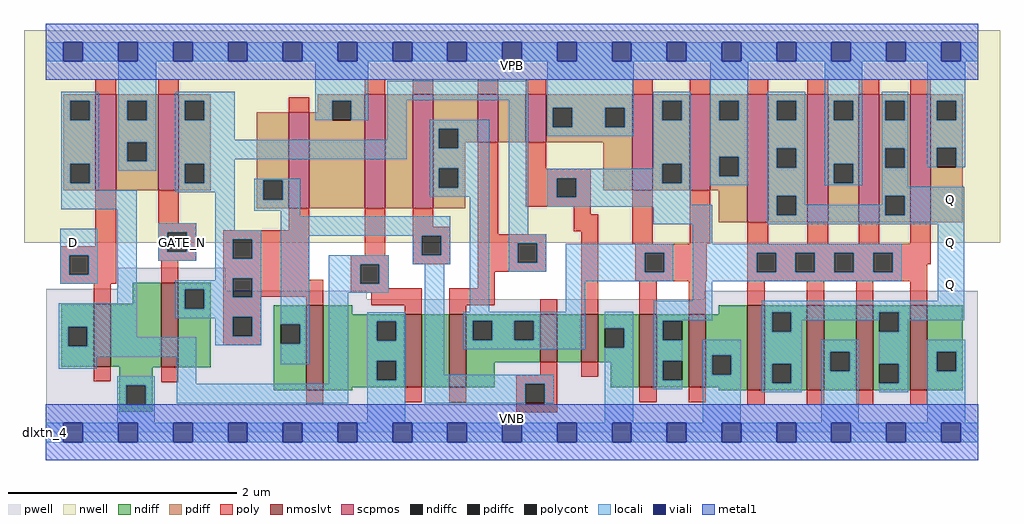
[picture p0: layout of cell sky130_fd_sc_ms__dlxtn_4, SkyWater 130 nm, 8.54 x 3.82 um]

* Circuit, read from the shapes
.subckt sky130_fd_sc_ms__dlxtn_4 D GATE_N VGND VNB VPB VPWR Q
XM1 VGND D n1 VNB sky130_fd_pr__nfet_01v8_lvt w=0.55 l=0.15
XM2 n2 GATE_N VGND VNB sky130_fd_pr__nfet_01v8_lvt w=0.74 l=0.15
XM3 VGND n2 n3 VNB sky130_fd_pr__nfet_01v8_lvt w=0.74 l=0.15
XM4 n4 n1 VGND VNB sky130_fd_pr__nfet_01v8_lvt w=0.64 l=0.15
XM5 n5 n2 n4 VNB sky130_fd_pr__nfet_01v8_lvt w=0.64 l=0.15
XM6 n6 n3 n5 VNB sky130_fd_pr__nfet_01v8_lvt w=0.42 l=0.15
XM7 VGND n7 n6 VNB sky130_fd_pr__nfet_01v8_lvt w=0.42 l=0.15
XM8 n7 n5 VGND VNB sky130_fd_pr__nfet_01v8_lvt w=0.64 l=0.15 m=2
XM9 Q n7 VGND VNB sky130_fd_pr__nfet_01v8_lvt w=0.74 l=0.15 m=4
XM10 VPWR D n1 VPB sky130_fd_pr__pfet_01v8 w=0.84 l=0.18
XM11 n2 GATE_N VPWR VPB sky130_fd_pr__pfet_01v8 w=0.84 l=0.18
XM12 VPWR n2 n3 VPB sky130_fd_pr__pfet_01v8 w=0.84 l=0.18
XM13 n8 n1 VPWR VPB sky130_fd_pr__pfet_01v8 w=1 l=0.18
XM14 n5 n3 n8 VPB sky130_fd_pr__pfet_01v8 w=1 l=0.18
XM15 n9 n2 n5 VPB sky130_fd_pr__pfet_01v8 w=0.42 l=0.18
XM16 VPWR n7 n9 VPB sky130_fd_pr__pfet_01v8 w=0.42 l=0.18
XM17 n7 n5 VPWR VPB sky130_fd_pr__pfet_01v8 w=0.84 l=0.18 m=2
XM18 Q n7 VPWR VPB sky130_fd_pr__pfet_01v8 w=1.12 l=0.18 m=4
.ends

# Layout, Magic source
magic
tech sky130A
magscale 1 2
<< nwell >>
rect -38 332 1670 704
<< pwell >>
rect 126 251 315 288
rect 1 248 315 251
rect 1 233 562 248
rect 1152 233 1631 248
rect 1 49 1631 233
rect 0 0 1632 49
<< scpmos >>
rect 87 424 123 592
rect 197 424 233 592
rect 425 392 461 560
rect 558 392 594 592
rect 642 392 678 592
rect 756 508 792 592
rect 840 508 876 592
rect 1026 424 1062 592
rect 1127 424 1163 592
rect 1228 368 1264 592
rect 1333 368 1369 592
rect 1423 368 1459 592
rect 1513 368 1549 592
<< nmoslvt >>
rect 84 115 114 225
rect 202 114 232 262
rect 456 74 486 222
rect 628 79 658 207
rect 706 79 736 207
rect 865 123 895 207
rect 937 123 967 207
rect 1039 79 1069 207
rect 1125 79 1155 207
rect 1228 74 1258 222
rect 1332 74 1362 222
rect 1418 74 1448 222
rect 1513 74 1543 222
<< ndiff >>
rect 152 225 202 262
rect 27 185 84 225
rect 27 151 39 185
rect 73 151 84 185
rect 27 115 84 151
rect 114 115 202 225
rect 129 114 202 115
rect 232 250 289 262
rect 232 216 243 250
rect 277 216 289 250
rect 232 114 289 216
rect 399 189 456 222
rect 399 155 411 189
rect 445 155 456 189
rect 129 82 187 114
rect 129 48 141 82
rect 175 48 187 82
rect 399 74 456 155
rect 486 207 536 222
rect 1178 207 1228 222
rect 486 194 628 207
rect 486 160 579 194
rect 613 160 628 194
rect 486 125 628 160
rect 486 91 579 125
rect 613 91 628 125
rect 486 79 628 91
rect 658 79 706 207
rect 736 195 865 207
rect 736 161 747 195
rect 781 161 820 195
rect 854 161 865 195
rect 736 123 865 161
rect 895 123 937 207
rect 967 182 1039 207
rect 967 148 978 182
rect 1012 148 1039 182
rect 967 123 1039 148
rect 736 79 786 123
rect 486 74 536 79
rect 989 79 1039 123
rect 1069 195 1125 207
rect 1069 161 1080 195
rect 1114 161 1125 195
rect 1069 125 1125 161
rect 1069 91 1080 125
rect 1114 91 1125 125
rect 1069 79 1125 91
rect 1155 135 1228 207
rect 1155 101 1166 135
rect 1200 101 1228 135
rect 1155 79 1228 101
rect 1178 74 1228 79
rect 1258 210 1332 222
rect 1258 176 1271 210
rect 1305 176 1332 210
rect 1258 120 1332 176
rect 1258 86 1271 120
rect 1305 86 1332 120
rect 1258 74 1332 86
rect 1362 141 1418 222
rect 1362 107 1373 141
rect 1407 107 1418 141
rect 1362 74 1418 107
rect 1448 210 1513 222
rect 1448 176 1459 210
rect 1493 176 1513 210
rect 1448 120 1513 176
rect 1448 86 1459 120
rect 1493 86 1513 120
rect 1448 74 1513 86
rect 1543 141 1605 222
rect 1543 107 1559 141
rect 1593 107 1605 141
rect 1543 74 1605 107
rect 129 36 187 48
<< pdiff >>
rect 31 580 87 592
rect 31 546 43 580
rect 77 546 87 580
rect 31 470 87 546
rect 31 436 43 470
rect 77 436 87 470
rect 31 424 87 436
rect 123 580 197 592
rect 123 546 143 580
rect 177 546 197 580
rect 123 508 197 546
rect 123 474 143 508
rect 177 474 197 508
rect 123 424 197 474
rect 233 580 289 592
rect 233 546 243 580
rect 277 546 289 580
rect 476 580 558 592
rect 476 560 501 580
rect 233 470 289 546
rect 233 436 243 470
rect 277 436 289 470
rect 233 424 289 436
rect 369 441 425 560
rect 369 407 381 441
rect 415 407 425 441
rect 369 392 425 407
rect 461 546 501 560
rect 535 546 558 580
rect 461 392 558 546
rect 594 392 642 592
rect 678 531 756 592
rect 678 497 688 531
rect 722 508 756 531
rect 792 508 840 592
rect 876 568 1026 592
rect 876 534 887 568
rect 921 534 979 568
rect 1013 534 1026 568
rect 876 508 1026 534
rect 722 497 734 508
rect 678 462 734 497
rect 678 428 688 462
rect 722 428 734 462
rect 678 392 734 428
rect 976 424 1026 508
rect 1062 580 1127 592
rect 1062 546 1079 580
rect 1113 546 1127 580
rect 1062 470 1127 546
rect 1062 436 1079 470
rect 1113 436 1127 470
rect 1062 424 1127 436
rect 1163 580 1228 592
rect 1163 546 1179 580
rect 1213 546 1228 580
rect 1163 482 1228 546
rect 1163 448 1179 482
rect 1213 448 1228 482
rect 1163 424 1228 448
rect 1178 368 1228 424
rect 1264 580 1333 592
rect 1264 546 1279 580
rect 1313 546 1333 580
rect 1264 497 1333 546
rect 1264 463 1279 497
rect 1313 463 1333 497
rect 1264 414 1333 463
rect 1264 380 1279 414
rect 1313 380 1333 414
rect 1264 368 1333 380
rect 1369 580 1423 592
rect 1369 546 1379 580
rect 1413 546 1423 580
rect 1369 470 1423 546
rect 1369 436 1379 470
rect 1413 436 1423 470
rect 1369 368 1423 436
rect 1459 580 1513 592
rect 1459 546 1469 580
rect 1503 546 1513 580
rect 1459 497 1513 546
rect 1459 463 1469 497
rect 1503 463 1513 497
rect 1459 414 1513 463
rect 1459 380 1469 414
rect 1503 380 1513 414
rect 1459 368 1513 380
rect 1549 580 1605 592
rect 1549 546 1559 580
rect 1593 546 1605 580
rect 1549 498 1605 546
rect 1549 464 1559 498
rect 1593 464 1605 498
rect 1549 368 1605 464
<< ndiffc >>
rect 39 151 73 185
rect 243 216 277 250
rect 411 155 445 189
rect 141 48 175 82
rect 579 160 613 194
rect 579 91 613 125
rect 747 161 781 195
rect 820 161 854 195
rect 978 148 1012 182
rect 1080 161 1114 195
rect 1080 91 1114 125
rect 1166 101 1200 135
rect 1271 176 1305 210
rect 1271 86 1305 120
rect 1373 107 1407 141
rect 1459 176 1493 210
rect 1459 86 1493 120
rect 1559 107 1593 141
<< pdiffc >>
rect 43 546 77 580
rect 43 436 77 470
rect 143 546 177 580
rect 143 474 177 508
rect 243 546 277 580
rect 243 436 277 470
rect 381 407 415 441
rect 501 546 535 580
rect 688 497 722 531
rect 887 534 921 568
rect 979 534 1013 568
rect 688 428 722 462
rect 1079 546 1113 580
rect 1079 436 1113 470
rect 1179 546 1213 580
rect 1179 448 1213 482
rect 1279 546 1313 580
rect 1279 463 1313 497
rect 1279 380 1313 414
rect 1379 546 1413 580
rect 1379 436 1413 470
rect 1469 546 1503 580
rect 1469 463 1503 497
rect 1469 380 1503 414
rect 1559 546 1593 580
rect 1559 464 1593 498
<< poly >>
rect 87 592 123 618
rect 197 592 233 618
rect 558 592 594 618
rect 642 592 678 618
rect 756 592 792 618
rect 840 592 876 618
rect 1026 592 1062 618
rect 1127 592 1163 618
rect 1228 592 1264 618
rect 1333 592 1369 618
rect 1423 592 1459 618
rect 1513 592 1549 618
rect 425 560 461 586
rect 87 326 123 424
rect 25 310 123 326
rect 25 276 41 310
rect 75 276 123 310
rect 197 366 233 424
rect 197 350 263 366
rect 425 354 461 392
rect 197 316 213 350
rect 247 316 263 350
rect 197 300 263 316
rect 311 338 461 354
rect 311 304 327 338
rect 361 304 461 338
rect 558 310 594 392
rect 642 360 678 392
rect 642 344 708 360
rect 642 310 658 344
rect 692 310 708 344
rect 25 260 123 276
rect 202 262 232 300
rect 311 270 461 304
rect 84 225 114 260
rect 84 89 114 115
rect 311 236 327 270
rect 361 267 461 270
rect 534 294 600 310
rect 642 294 708 310
rect 756 347 792 508
rect 840 461 876 508
rect 840 445 954 461
rect 840 411 894 445
rect 928 411 954 445
rect 840 395 954 411
rect 924 382 954 395
rect 924 352 967 382
rect 756 331 876 347
rect 756 297 826 331
rect 860 297 876 331
rect 361 237 486 267
rect 534 260 550 294
rect 584 260 600 294
rect 534 252 600 260
rect 756 281 876 297
rect 756 252 786 281
rect 534 244 658 252
rect 361 236 377 237
rect 311 202 377 236
rect 456 222 486 237
rect 570 222 658 244
rect 311 168 327 202
rect 361 168 377 202
rect 311 152 377 168
rect 202 88 232 114
rect 628 207 658 222
rect 706 222 786 252
rect 706 207 736 222
rect 865 207 895 233
rect 937 207 967 352
rect 1026 330 1062 424
rect 1127 330 1163 424
rect 1228 330 1264 368
rect 1333 330 1369 368
rect 1423 330 1459 368
rect 1513 330 1549 368
rect 1032 314 1157 330
rect 1032 280 1048 314
rect 1082 280 1157 314
rect 1032 264 1157 280
rect 1228 314 1549 330
rect 1228 280 1244 314
rect 1278 280 1312 314
rect 1346 280 1380 314
rect 1414 280 1448 314
rect 1482 294 1549 314
rect 1482 280 1543 294
rect 1228 264 1543 280
rect 1039 207 1069 264
rect 1125 207 1155 264
rect 1228 222 1258 264
rect 1332 222 1362 264
rect 1418 222 1448 264
rect 1513 222 1543 264
rect 865 101 895 123
rect 823 85 895 101
rect 937 97 967 123
rect 456 48 486 74
rect 628 53 658 79
rect 706 53 736 79
rect 823 51 839 85
rect 873 51 895 85
rect 1039 53 1069 79
rect 1125 53 1155 79
rect 823 35 895 51
rect 1228 48 1258 74
rect 1332 48 1362 74
rect 1418 48 1448 74
rect 1513 48 1543 74
<< polycont >>
rect 41 276 75 310
rect 213 316 247 350
rect 327 304 361 338
rect 658 310 692 344
rect 327 236 361 270
rect 894 411 928 445
rect 826 297 860 331
rect 550 260 584 294
rect 327 168 361 202
rect 1048 280 1082 314
rect 1244 280 1278 314
rect 1312 280 1346 314
rect 1380 280 1414 314
rect 1448 280 1482 314
rect 839 51 873 85
<< locali >>
rect 0 649 31 683
rect 65 649 127 683
rect 161 649 223 683
rect 257 649 319 683
rect 353 649 415 683
rect 449 649 511 683
rect 545 649 607 683
rect 641 649 703 683
rect 737 649 799 683
rect 833 649 895 683
rect 929 649 991 683
rect 1025 649 1087 683
rect 1121 649 1183 683
rect 1217 649 1279 683
rect 1313 649 1375 683
rect 1409 649 1471 683
rect 1505 649 1567 683
rect 1601 649 1632 683
rect 27 580 93 596
rect 27 546 43 580
rect 77 546 93 580
rect 27 470 93 546
rect 27 436 43 470
rect 77 436 93 470
rect 127 580 193 649
rect 127 546 143 580
rect 177 546 193 580
rect 127 508 193 546
rect 127 474 143 508
rect 177 474 193 508
rect 127 458 193 474
rect 227 580 331 596
rect 227 546 243 580
rect 277 546 331 580
rect 472 580 564 649
rect 472 546 501 580
rect 535 546 564 580
rect 598 581 844 615
rect 227 512 331 546
rect 598 512 632 581
rect 227 478 632 512
rect 672 531 776 547
rect 672 497 688 531
rect 722 497 776 531
rect 227 470 331 478
rect 27 424 93 436
rect 227 436 243 470
rect 277 436 331 470
rect 672 462 776 497
rect 27 390 159 424
rect 227 420 331 436
rect 25 310 91 356
rect 25 276 41 310
rect 75 276 91 310
rect 25 260 91 276
rect 125 226 159 390
rect 197 350 263 366
rect 197 316 213 350
rect 247 316 263 350
rect 197 300 263 316
rect 297 354 331 420
rect 365 441 445 444
rect 365 407 381 441
rect 415 407 445 441
rect 672 428 688 462
rect 722 428 776 462
rect 672 412 776 428
rect 365 388 445 407
rect 411 378 445 388
rect 297 338 377 354
rect 297 304 327 338
rect 361 304 377 338
rect 297 270 377 304
rect 297 266 327 270
rect 23 185 159 226
rect 227 250 327 266
rect 227 216 243 250
rect 277 236 327 250
rect 361 236 377 270
rect 277 216 377 236
rect 227 202 377 216
rect 227 200 327 202
rect 23 151 39 185
rect 73 166 159 185
rect 297 168 327 200
rect 361 168 377 202
rect 73 151 263 166
rect 297 152 377 168
rect 411 344 708 378
rect 411 189 461 344
rect 642 310 658 344
rect 692 310 708 344
rect 445 155 461 189
rect 23 132 263 151
rect 23 111 89 132
rect 125 82 191 98
rect 125 48 141 82
rect 175 48 191 82
rect 229 85 263 132
rect 411 119 461 155
rect 495 294 600 310
rect 642 294 708 310
rect 495 260 550 294
rect 584 260 600 294
rect 495 244 600 260
rect 495 85 529 244
rect 229 51 529 85
rect 563 194 629 210
rect 563 160 579 194
rect 613 160 629 194
rect 563 125 629 160
rect 563 91 579 125
rect 613 91 629 125
rect 125 17 191 48
rect 563 17 629 91
rect 663 101 697 294
rect 742 211 776 412
rect 810 347 844 581
rect 878 568 1029 649
rect 878 534 887 568
rect 921 534 979 568
rect 1013 534 1029 568
rect 878 518 1029 534
rect 1063 580 1129 596
rect 1063 546 1079 580
rect 1113 546 1129 580
rect 1063 470 1129 546
rect 1063 461 1079 470
rect 878 445 1079 461
rect 878 411 894 445
rect 928 436 1079 445
rect 1113 436 1129 470
rect 928 411 1129 436
rect 1163 580 1229 649
rect 1163 546 1179 580
rect 1213 546 1229 580
rect 1163 482 1229 546
rect 1163 448 1179 482
rect 1213 448 1229 482
rect 1163 432 1229 448
rect 1263 580 1329 596
rect 1263 546 1279 580
rect 1313 546 1329 580
rect 1263 497 1329 546
rect 1263 463 1279 497
rect 1313 463 1329 497
rect 878 398 1129 411
rect 1263 414 1329 463
rect 1363 580 1429 649
rect 1363 546 1379 580
rect 1413 546 1429 580
rect 1363 470 1429 546
rect 1363 436 1379 470
rect 1413 436 1429 470
rect 1363 432 1429 436
rect 1463 580 1509 596
rect 1463 546 1469 580
rect 1503 546 1509 580
rect 1463 497 1509 546
rect 1463 463 1469 497
rect 1503 463 1509 497
rect 1543 580 1609 649
rect 1543 546 1559 580
rect 1593 546 1609 580
rect 1543 498 1609 546
rect 1543 464 1559 498
rect 1593 464 1609 498
rect 878 395 1166 398
rect 1063 364 1166 395
rect 1263 380 1279 414
rect 1313 398 1329 414
rect 1463 430 1509 463
rect 1463 414 1607 430
rect 1463 398 1469 414
rect 1313 380 1469 398
rect 1503 380 1607 414
rect 1263 364 1607 380
rect 810 331 876 347
rect 810 297 826 331
rect 860 297 876 331
rect 1132 330 1166 364
rect 810 281 876 297
rect 910 314 1098 330
rect 910 280 1048 314
rect 1082 280 1098 314
rect 910 264 1098 280
rect 1132 314 1498 330
rect 1132 280 1244 314
rect 1278 280 1312 314
rect 1346 280 1380 314
rect 1414 280 1448 314
rect 1482 280 1498 314
rect 1132 264 1498 280
rect 910 211 944 264
rect 1132 230 1166 264
rect 1561 230 1607 364
rect 731 195 944 211
rect 731 161 747 195
rect 781 161 820 195
rect 854 161 944 195
rect 731 145 944 161
rect 978 182 1028 211
rect 1012 148 1028 182
rect 663 85 889 101
rect 663 51 839 85
rect 873 51 889 85
rect 978 17 1028 148
rect 1064 196 1166 230
rect 1253 210 1607 230
rect 1064 195 1114 196
rect 1064 161 1080 195
rect 1253 176 1271 210
rect 1305 196 1459 210
rect 1305 176 1323 196
rect 1064 125 1114 161
rect 1064 91 1080 125
rect 1064 75 1114 91
rect 1150 135 1216 162
rect 1150 101 1166 135
rect 1200 101 1216 135
rect 1150 17 1216 101
rect 1253 120 1323 176
rect 1493 196 1607 210
rect 1493 176 1509 196
rect 1253 86 1271 120
rect 1305 86 1323 120
rect 1253 70 1323 86
rect 1357 141 1423 162
rect 1357 107 1373 141
rect 1407 107 1423 141
rect 1357 17 1423 107
rect 1459 120 1509 176
rect 1493 86 1509 120
rect 1459 70 1509 86
rect 1543 141 1609 162
rect 1543 107 1559 141
rect 1593 107 1609 141
rect 1543 17 1609 107
rect 0 -17 31 17
rect 65 -17 127 17
rect 161 -17 223 17
rect 257 -17 319 17
rect 353 -17 415 17
rect 449 -17 511 17
rect 545 -17 607 17
rect 641 -17 703 17
rect 737 -17 799 17
rect 833 -17 895 17
rect 929 -17 991 17
rect 1025 -17 1087 17
rect 1121 -17 1183 17
rect 1217 -17 1279 17
rect 1313 -17 1375 17
rect 1409 -17 1471 17
rect 1505 -17 1567 17
rect 1601 -17 1632 17
<< viali >>
rect 31 649 65 683
rect 127 649 161 683
rect 223 649 257 683
rect 319 649 353 683
rect 415 649 449 683
rect 511 649 545 683
rect 607 649 641 683
rect 703 649 737 683
rect 799 649 833 683
rect 895 649 929 683
rect 991 649 1025 683
rect 1087 649 1121 683
rect 1183 649 1217 683
rect 1279 649 1313 683
rect 1375 649 1409 683
rect 1471 649 1505 683
rect 1567 649 1601 683
rect 31 -17 65 17
rect 127 -17 161 17
rect 223 -17 257 17
rect 319 -17 353 17
rect 415 -17 449 17
rect 511 -17 545 17
rect 607 -17 641 17
rect 703 -17 737 17
rect 799 -17 833 17
rect 895 -17 929 17
rect 991 -17 1025 17
rect 1087 -17 1121 17
rect 1183 -17 1217 17
rect 1279 -17 1313 17
rect 1375 -17 1409 17
rect 1471 -17 1505 17
rect 1567 -17 1601 17
<< metal1 >>
rect 0 683 1632 715
rect 0 649 31 683
rect 65 649 127 683
rect 161 649 223 683
rect 257 649 319 683
rect 353 649 415 683
rect 449 649 511 683
rect 545 649 607 683
rect 641 649 703 683
rect 737 649 799 683
rect 833 649 895 683
rect 929 649 991 683
rect 1025 649 1087 683
rect 1121 649 1183 683
rect 1217 649 1279 683
rect 1313 649 1375 683
rect 1409 649 1471 683
rect 1505 649 1567 683
rect 1601 649 1632 683
rect 0 617 1632 649
rect 0 17 1632 49
rect 0 -17 31 17
rect 65 -17 127 17
rect 161 -17 223 17
rect 257 -17 319 17
rect 353 -17 415 17
rect 449 -17 511 17
rect 545 -17 607 17
rect 641 -17 703 17
rect 737 -17 799 17
rect 833 -17 895 17
rect 929 -17 991 17
rect 1025 -17 1087 17
rect 1121 -17 1183 17
rect 1217 -17 1279 17
rect 1313 -17 1375 17
rect 1409 -17 1471 17
rect 1505 -17 1567 17
rect 1601 -17 1632 17
rect 0 -49 1632 -17
<< labels >>
flabel pwell s 0 0 1632 49 0 FreeSans 200 0 0 0 VNB
port 4 nsew ground bidirectional
flabel nwell s 0 617 1632 666 0 FreeSans 200 0 0 0 VPB
port 5 nsew power bidirectional
rlabel comment s 0 0 0 0 4 dlxtn_4
flabel metal1 s 0 617 1632 666 0 FreeSans 340 0 0 0 VPWR
port 6 nsew power bidirectional
flabel metal1 s 0 0 1632 49 0 FreeSans 340 0 0 0 VGND
port 3 nsew ground bidirectional
flabel locali s 31 316 65 350 0 FreeSans 340 0 0 0 D
port 1 nsew signal input
flabel locali s 223 316 257 350 0 FreeSans 340 0 0 0 GATE_N
port 2 nsew clock input
flabel locali s 1567 242 1601 276 0 FreeSans 340 0 0 0 Q
port 7 nsew signal output
flabel locali s 1567 316 1601 350 0 FreeSans 340 0 0 0 Q
port 7 nsew signal output
flabel locali s 1567 390 1601 424 0 FreeSans 340 0 0 0 Q
port 7 nsew signal output
<< properties >>
string LEFsite unit
string LEFclass CORE
string FIXED_BBOX 0 0 1632 666
string GDS_FILE $PDKPATH/libs.ref/sky130_fd_sc_ms/gds/sky130_fd_sc_ms.gds
string LEFsymmetry X Y
string GDS_END 631710
string GDS_START 619750
<< end >>
